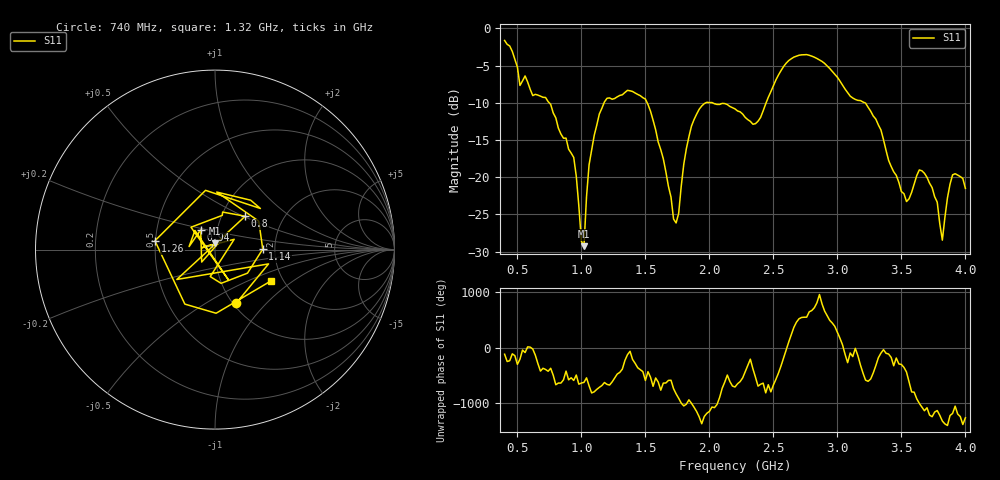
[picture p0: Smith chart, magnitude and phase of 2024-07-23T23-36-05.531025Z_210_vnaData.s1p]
!Created with skrf (http://scikit-rf.org).
# Hz S RI R 50.0
!freq ReS11 ImS11
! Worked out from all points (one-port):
!   181 points, 400 MHz to 4 GHz, reference 50 ohm
!   lowest |S11| = -29.3 dB at 1.02 GHz (marker M1), VSWR 1.07, Z = 49.9 + j3.44 ohm
!   |S11| at or under -10 dB: 748.7 MHz to 1.177 GHz (428.4 MHz wide, 44.5 % of centre); 1.514 GHz to 1.972 GHz (457.9 MHz wide, 26.3 % of centre); 3.215 GHz to end of sweep (the widest 3 of 4)
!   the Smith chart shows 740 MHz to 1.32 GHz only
!   S11 on the Smith chart (normalised r, x): 740 MHz: 1.03, -0.69; 800 MHz: 1.29, +0.51; 940 MHz: 0.83, +0.19; 1.14 GHz: 1.72, +0.01; 1.26 GHz: 0.50, +0.06; 1.32 GHz: 1.74, -0.69
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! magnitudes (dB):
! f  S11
! 400 MHz  -1.6
! 520 MHz  -7.7
! 740 MHz  -9.8
! 800 MHz  -12.0
! 860 MHz  -14.8
! 940 MHz  -17.3
! 1.02 GHz  -29.3
! 1.06 GHz  -18.3
! 1.14 GHz  -11.5
! 1.26 GHz  -9.4
! 1.3 GHz  -9.0
! 1.32 GHz  -8.9
! 1.52 GHz  -10.2
! 1.72 GHz  -25.6
! 1.76 GHz  -24.8
! 1.82 GHz  -16.2
! 1.92 GHz  -10.9
! 2.2 GHz  -10.8
! 2.36 GHz  -12.8
! 2.66 GHz  -3.9
! 3.1 GHz  -9.1
! 3.3 GHz  -12.2
! 3.56 GHz  -22.9
! 3.68 GHz  -19.5
! 3.78 GHz  -23.4
! 3.82 GHz  -28.5
! 3.9 GHz  -19.7
! 4 GHz  -21.5
